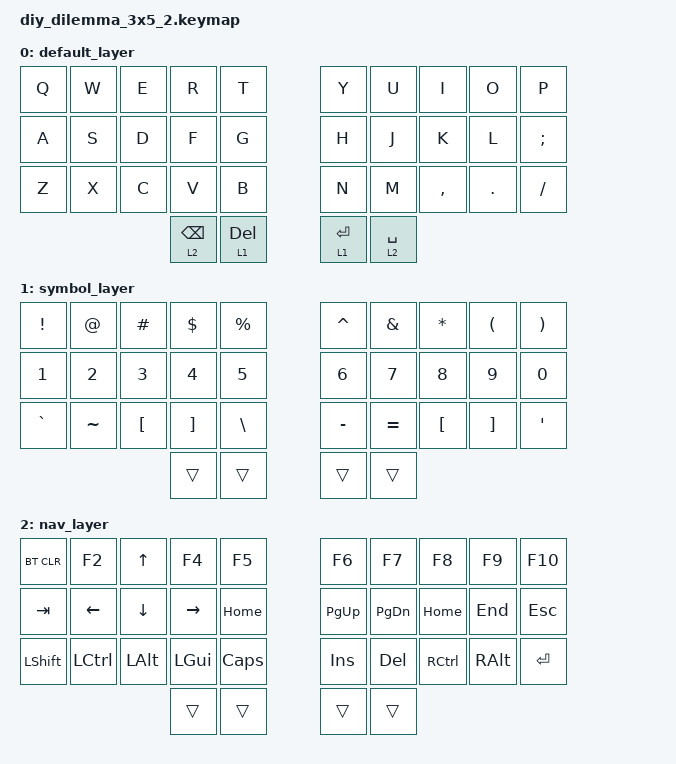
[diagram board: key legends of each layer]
/*
 * Copyright (c) 2023 The ZMK Contributors
 *
 * SPDX-License-Identifier: MIT
 */

#include <behaviors.dtsi>
#include <dt-bindings/zmk/keys.h>
#include <dt-bindings/zmk/bt.h>

/ {
    behaviors {
        hm: homerow_mods {
            compatible = "zmk,behavior-hold-tap";
            label = "HOMEROW_MODS";
            #binding-cells = <2>;
            tapping-term-ms = <200>;
            quick-tap-ms = <175>;
            flavor = "tap-preferred";
            bindings = <&kp>, <&kp>;
        };
    };

    keymap {
        compatible = "zmk,keymap";

        default_layer {
            bindings = <
        //╭──────────┬──────────┬──────────┬──────────┬──────────╮   ╭──────────┬──────────┬──────────┬──────────┬──────────╮
        //│  Q       │  W       │  E       │  R       │  T       │   │  Y       │  U       │  I       │  O       │  P       │
            &kp Q      &kp W      &kp E      &kp R      &kp T          &kp Y      &kp U      &kp I      &kp O      &kp P
        //├──────────┼──────────┼──────────┼──────────┼──────────┤   ├──────────┼──────────┼──────────┼──────────┼──────────┤
        //│  A       │  S       │  D       │  F       │  G       │   │  H       │  J       │  K       │  L       │ ; :      │
            &kp A      &kp S      &kp D      &kp F      &kp G          &kp H      &kp J      &kp K      &kp L      &kp SEMI
        //├──────────┼──────────┼──────────┼──────────┼──────────┤   ├──────────┼──────────┼──────────┼──────────┼──────────┤
        //│  Z       │  X       │  C       │  V       │  B       │   │  N       │  M       │ , <      │ . >      │ / ?      │
            &kp Z      &kp X      &kp C      &kp V      &kp B          &kp N      &kp M      &kp COMMA  &kp DOT    &kp FSLH
        //╰──────────┴──────────┴──────────┼──────────┼──────────┤   ├──────────┼──────────┼──────────┴──────────┴──────────╯
                                             &lt 2 BSPC &lt 1 DEL     &lt 1 RET  &lt 2 SPACE
        //                                 ╰──────────┴──────────╯   ╰──────────┴──────────╯
            >;
        };

        symbol_layer {
            bindings = <
        //╭──────────┬──────────┬──────────┬──────────┬──────────╮   ╭──────────┬──────────┬──────────┬──────────┬──────────╮
        //│ !        │ @        │ #        │ $        │ %        │   │ ^        │ &        │ *        │ (        │ )        │
            &kp EXCL   &kp AT     &kp HASH   &kp DLLR   &kp PRCNT      &kp CARET  &kp AMPS   &kp ASTRK  &kp LPAR   &kp RPAR
        //├──────────┼──────────┼──────────┼──────────┼──────────┤   ├──────────┼──────────┼──────────┼──────────┼──────────┤
        //│ 1        │ 2        │ 3        │ 4        │ 5        │   │ 6        │ 7        │ 8        │ 9        │ 0        │
            &kp N1     &kp N2     &kp N3     &kp N4     &kp N5         &kp N6     &kp N7     &kp N8     &kp N9     &kp N0
        //├──────────┼──────────┼──────────┼──────────┼──────────┤   ├──────────┼──────────┼──────────┼──────────┼──────────┤
        //│ `        │ ~        │ [        │ ]        │ \        │   │ -        │ =        │ [        │ ]        │ '        │
            &kp GRAVE  &kp TILDE  &kp LBKT   &kp RBKT   &kp BSLH       &kp MINUS  &kp EQUAL  &kp LBKT   &kp RBKT   &kp SQT
        //╰──────────┴──────────┴──────────┼──────────┼──────────┤   ├──────────┼──────────┼──────────┴──────────┴──────────╯
                                             &trans     &trans         &trans     &trans
        //                                 ╰──────────┴──────────╯   ╰──────────┴──────────╯
            >;
        };

        nav_layer {
            bindings = <
        //╭──────────┬──────────┬──────────┬──────────┬──────────╮   ╭──────────┬──────────┬──────────┬──────────┬──────────╮
        //│ BT CLR   │ F2       │ UP       │ F4       │ F5       │   │ F6       │ F7       │ F8       │ F9       │ F10      │
            &bt BT_CLR &kp F2     &kp UP     &kp F4     &kp F5         &kp F6     &kp F7     &kp F8     &kp F9     &kp F10
        //├──────────┼──────────┼──────────┼──────────┼──────────┤   ├──────────┼──────────┼──────────┼──────────┼──────────┤
        //│ TAB      │ LEFT     │ DOWN     │ RIGHT    │ HOME     │   │ PGUP     │ PGDN     │ HOME     │ END      │ ESC      │
            &kp TAB    &kp LEFT   &kp DOWN   &kp RIGHT  &kp HOME       &kp PG_UP  &kp PG_DN  &kp HOME   &kp END    &kp ESC
        //├──────────┼──────────┼──────────┼──────────┼──────────┤   ├──────────┼──────────┼──────────┼──────────┼──────────┤
        //│ SHIFT    │ CTRL     │ ALT      │ GUI      │ CAPS     │   │ INSERT   │ DELETE   │ CTRL     │ ALT      │ ENTER    │
            &kp LSHFT  &kp LCTRL  &kp LALT   &kp LGUI   &kp CAPS       &kp INS    &kp DEL    &kp RCTRL  &kp RALT   &kp RET
        //╰──────────┴──────────┴──────────┼──────────┼──────────┤   ├──────────┼──────────┼──────────┴──────────┴──────────╯
                                             &trans     &trans         &trans     &trans
        //                                 ╰──────────┴──────────╯   ╰──────────┴──────────╯
            >;
        };
    };
};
